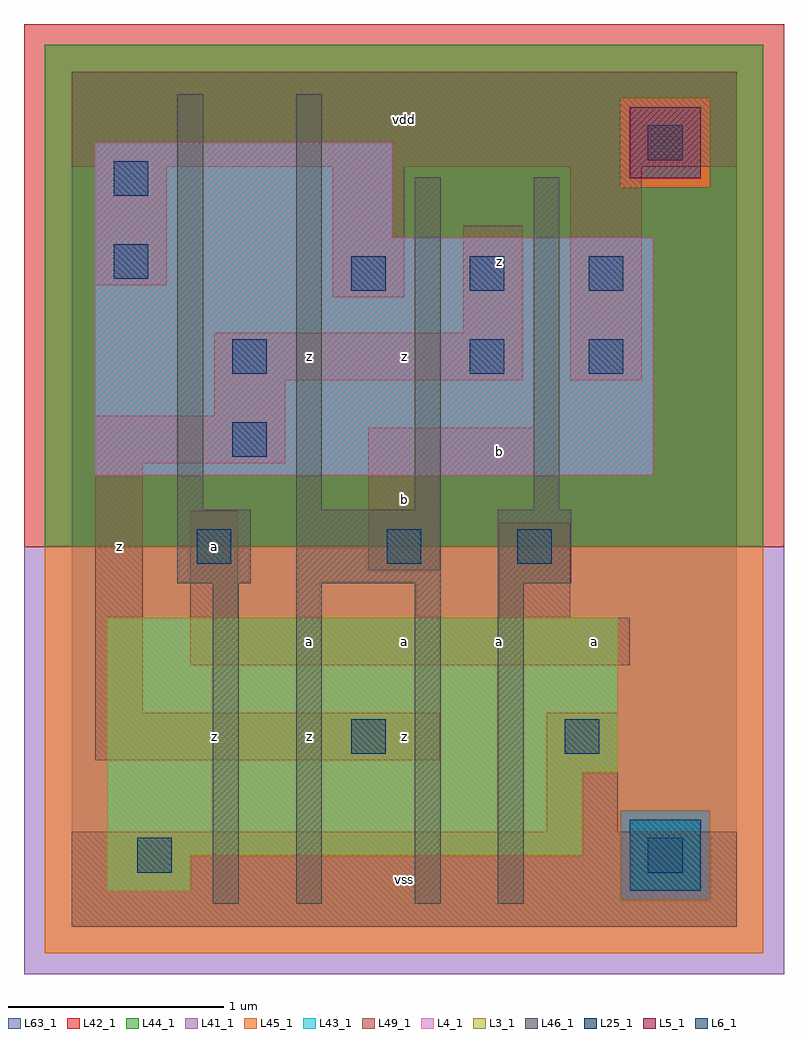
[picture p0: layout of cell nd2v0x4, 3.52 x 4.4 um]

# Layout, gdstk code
import gdstk
lib = gdstk.Library(unit=1e-6, precision=1e-09)
def R(c, l, rs):  # rectangles x0, y0, x1, y1
    for r in rs: c.add(gdstk.rectangle(r[:2], r[2:], *l))
def A(c, l, x, y, w, h, nx, ny, dx, dy):  # array of equal rectangles
    R(c, l, [(x+i*dx, y+j*dy, x+i*dx+w, y+j*dy+h) for i in range(nx) for j in range(ny)])
L3_1 = (3, 1)
L4_1 = (4, 1)
L5_1 = (5, 1)
L6_1 = (6, 1)
L25_1 = (25, 1)
L41_1 = (41, 1)
L42_1 = (42, 1)
L43_1 = (43, 1)
L44_1 = (44, 1)
L45_1 = (45, 1)
L46_1 = (46, 1)
L49_1 = (49, 1)
L63_1 = (63, 1)

nd2v0x4 = lib.new_cell('nd2v0x4')
R(nd2v0x4, L3_1, [(0.165,0.165,0.55,0.33), (0.165,0.33,2.365,0.715), (0.165,0.715,2.53,1.43)])
R(nd2v0x4, L4_1, [(0.11,2.09,2.695,3.19), (0.11,3.19,1.485,3.63)])
R(nd2v0x4, L5_1, [(2.585,3.465,2.915,3.795)])
R(nd2v0x4, L6_1, [(2.585,0.165,2.915,0.495)])
A(nd2v0x4, L25_1, 1.295, 2.945, 0.16, 0.16, 3, 1, 0.55, 0)
R(nd2v0x4, L25_1, [(0.305,0.25,0.465,0.41), (2.67,0.25,2.83,0.41), (1.295,0.8,1.455,0.96), (2.285,0.8,2.445,0.96), (0.58,1.68,0.74,1.84), (1.46,1.68,1.62,1.84), (2.065,1.68,2.225,1.84), (0.745,2.175,0.905,2.335), (0.745,2.56,0.905,2.72), (1.845,2.56,2.005,2.72), (2.395,2.56,2.555,2.72), (0.195,3,0.355,3.16), (0.195,3.385,0.355,3.545), (2.67,3.55,2.83,3.71)])
R(nd2v0x4, L41_1, [(-0.22,-0.22,3.3,1.76)])
R(nd2v0x4, L42_1, [(-0.22,1.76,3.3,4.18)])
R(nd2v0x4, L43_1, [(0.165,0.165,0.55,0.33), (2.585,0.165,2.915,0.495), (0.165,0.33,2.365,0.715), (0.165,0.715,2.53,1.43), (0.11,2.09,2.695,3.19), (0.11,3.19,1.485,3.63), (2.585,3.465,2.915,3.795)])
R(nd2v0x4, L44_1, [(2.545,0.125,2.955,0.535), (-0.125,1.76,3.205,3.425), (-0.125,3.425,2.545,3.835), (2.955,3.425,3.205,3.835), (-0.125,3.835,3.205,4.085)])
R(nd2v0x4, L45_1, [(-0.125,-0.125,3.205,0.125), (-0.125,0.125,2.545,0.535), (2.955,0.125,3.205,0.535), (-0.125,0.535,3.205,1.76), (2.545,3.425,2.955,3.835)])
R(nd2v0x4, L46_1, [(0.655,0.105,0.775,1.59), (1.04,0.105,1.16,1.59), (1.59,0.105,1.71,1.59), (1.975,0.105,2.095,1.59), (0.49,1.59,0.83,1.93), (1.04,1.59,1.71,1.93), (1.975,1.59,2.315,1.93), (0.49,1.93,0.61,3.855), (1.04,1.93,1.16,3.855), (1.59,1.93,1.71,3.47), (2.14,1.93,2.26,3.47)])
R(nd2v0x4, L49_1, [(0,0,3.08,0.44), (2.2,0.44,2.53,0.99), (0.11,0.77,1.705,0.99), (0.11,0.99,0.33,2.145), (0.55,1.21,2.585,1.43), (0.55,1.43,0.77,1.925), (1.98,1.43,2.31,1.87), (1.375,1.65,1.705,2.09), (1.375,2.09,2.145,2.31), (0.11,2.145,0.99,2.365), (0.66,2.365,0.99,2.53), (0.66,2.53,2.09,2.75), (2.31,2.53,2.64,3.52), (1.815,2.75,2.09,3.245), (1.21,2.915,1.54,3.52), (0.11,2.97,0.44,3.52), (0,3.52,3.08,3.96)])
R(nd2v0x4, L63_1, [(0,0,3.08,3.96)])
nd2v0x4.add(gdstk.Label('z', (0.22,1.76), layer=49, texttype=1))
nd2v0x4.add(gdstk.Label('z', (1.1,0.88), layer=49, texttype=1))
nd2v0x4.add(gdstk.Label('z', (0.66,0.88), layer=49, texttype=1))
nd2v0x4.add(gdstk.Label('a', (0.66,1.76), layer=49, texttype=1))
nd2v0x4.add(gdstk.Label('a', (1.1,1.32), layer=49, texttype=1))
nd2v0x4.add(gdstk.Label('z', (1.1,2.64), layer=49, texttype=1))
nd2v0x4.add(gdstk.Label('vss', (1.54,0.22), layer=49, texttype=1))
nd2v0x4.add(gdstk.Label('z', (1.54,0.88), layer=49, texttype=1))
nd2v0x4.add(gdstk.Label('a', (1.54,1.32), layer=49, texttype=1))
nd2v0x4.add(gdstk.Label('a', (1.98,1.32), layer=49, texttype=1))
nd2v0x4.add(gdstk.Label('b', (1.98,2.2), layer=49, texttype=1))
nd2v0x4.add(gdstk.Label('b', (1.54,1.98), layer=49, texttype=1))
nd2v0x4.add(gdstk.Label('z', (1.54,2.64), layer=49, texttype=1))
nd2v0x4.add(gdstk.Label('z', (1.98,3.08), layer=49, texttype=1))
nd2v0x4.add(gdstk.Label('vdd', (1.54,3.74), layer=49, texttype=1))
nd2v0x4.add(gdstk.Label('a', (2.42,1.32), layer=49, texttype=1))

lib.write_gds('nd2v0x4.gds')
